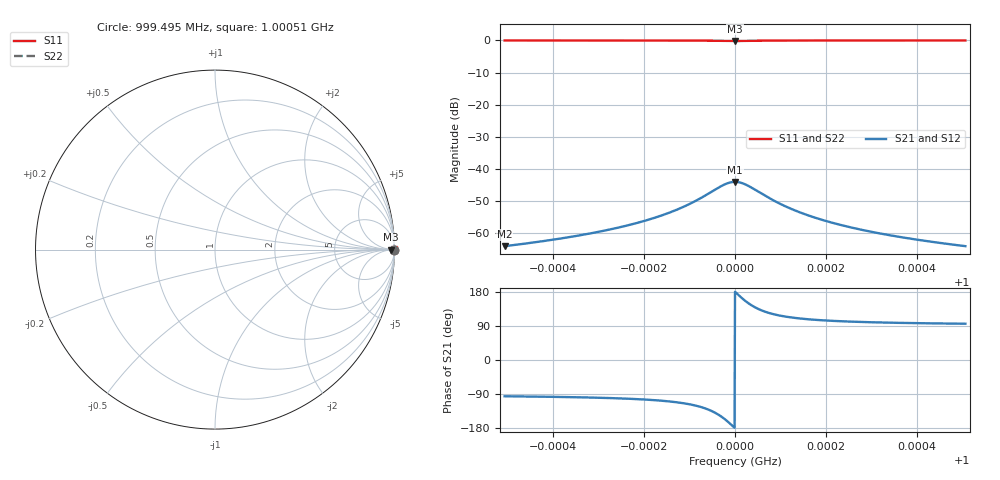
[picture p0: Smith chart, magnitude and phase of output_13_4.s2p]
! File generated for n1 = 13, n2 = 4
! b1 = 0.010000
! b2 = 0.001000
! Q0 = 10000.000000
! f0 = 1000000000.000000
! n = 1001
! rel_span = 10.000000
# Hz S RI R 50
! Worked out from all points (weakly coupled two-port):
!   1001 points, 999.495 MHz to 1.00051 GHz, reference 50 ohm
!   highest |S21| = -44.07 dB at 1 GHz (marker M1); lowest = -64.1 dB at 999.495 MHz (marker M2)
!   lowest |S11| = -0.2 dB at 1 GHz (marker M3), VSWR 100.10, Z = 5.01e+03 + j0 ohm
!   |S11| at or under -10 dB: nowhere
!   |S22| runs from 0.0 to 0.0 dB; largest |S21 - S12| = 0
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9.994945e8  0.9998 -0.00196  -6.19e-05 -0.000619  -6.19e-05 -0.000619  1 -0.000196
9.995814e8  0.9997 -0.00235  -8.99e-05 -0.000745  -8.99e-05 -0.000745  1 -0.000235
9.996633e8  0.9996 -0.0029  -0.000138 -0.000918  -0.000138 -0.000918  1 -0.00029
9.997563e8  0.9992 -0.00393  -0.000258 -0.00124  -0.000258 -0.00124  0.9999 -0.000393
9.997958e8  0.9989 -0.00461  -0.000361 -0.00146  -0.000361 -0.00146  0.9999 -0.000461
9.998322e8  0.9984 -0.00546  -0.00052 -0.00173  -0.00052 -0.00173  0.9998 -0.000546
9.998676e8  0.9975 -0.00659  -0.000795 -0.00208  -0.000795 -0.00208  0.9997 -0.000659
9.998989e8  0.996 -0.00791  -0.00125 -0.0025  -0.00125 -0.0025  0.9996 -0.000791
9.999232e8  0.994 -0.00908  -0.00189 -0.00287  -0.00189 -0.00287  0.9994 -0.000908
9.999767e8  0.9837 -0.00751  -0.00516 -0.00238  -0.00516 -0.00238  0.9984 -0.000751
9.999889e8  0.9811 -0.00415  -0.00597 -0.00131  -0.00597 -0.00131  0.9981 -0.000415
1e9  0.9802 0  -0.00626 0  -0.00626 0  0.998 0
1.000011e9  0.9811 0.00415  -0.00597 0.00131  -0.00597 0.00131  0.9981 0.000415
1.000023e9  0.9837 0.00751  -0.00516 0.00238  -0.00516 0.00238  0.9984 0.000751
1.000077e9  0.994 0.00908  -0.00189 0.00287  -0.00189 0.00287  0.9994 0.000908
1.000101e9  0.996 0.00791  -0.00125 0.0025  -0.00125 0.0025  0.9996 0.000791
1.000133e9  0.9975 0.00655  -0.000785 0.00207  -0.000785 0.00207  0.9998 0.000655
1.000169e9  0.9984 0.00544  -0.000515 0.00172  -0.000515 0.00172  0.9998 0.000544
1.000245e9  0.9992 0.00392  -0.000256 0.00124  -0.000256 0.00124  0.9999 0.000392
1.000338e9  0.9996 0.0029  -0.000137 0.000916  -0.000137 0.000916  1 0.00029
1.00042e9  0.9997 0.00235  -8.95e-05 0.000743  -8.95e-05 0.000743  1 0.000235
1.000506e9  0.9998 0.00196  -6.2e-05 0.00062  -6.2e-05 0.00062  1 0.000196
